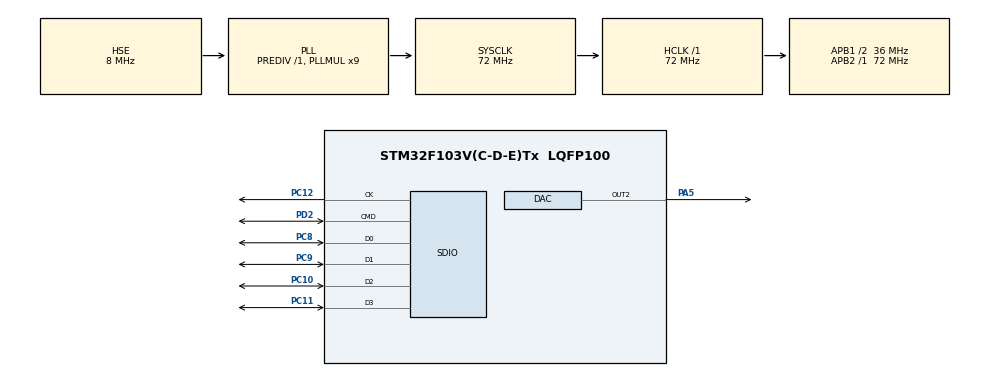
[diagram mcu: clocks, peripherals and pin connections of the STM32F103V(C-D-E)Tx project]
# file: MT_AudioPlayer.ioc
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Mcu.Family=STM32F1
Mcu.Name=STM32F103V(C-D-E)Tx
Mcu.Package=LQFP100
NVIC.PriorityGroup=NVIC_PRIORITYGROUP_4
NVIC.TIM6_IRQn=true\:0\:0\:false\:false\:true\:true\:true
OSC_IN.Mode=HSE-External-Oscillator
OSC_IN.Signal=RCC_OSC_IN
OSC_OUT.Mode=HSE-External-Oscillator
OSC_OUT.Signal=RCC_OSC_OUT
PA13.Mode=Serial_Wire
PA13.Signal=SYS_JTMS-SWDIO
PA14.Mode=Serial_Wire
PA14.Signal=SYS_JTCK-SWCLK
PA5.Signal=COMP_DAC2_group
PC10.Mode=SD_4_bits_Wide_bus
PC10.Signal=SDIO_D2
PC11.Mode=SD_4_bits_Wide_bus
PC11.Signal=SDIO_D3
PC12.Mode=SD_4_bits_Wide_bus
PC12.Signal=SDIO_CK
PC8.Mode=SD_4_bits_Wide_bus
PC8.Signal=SDIO_D0
PC9.Mode=SD_4_bits_Wide_bus
PC9.Signal=SDIO_D1
PD2.Mode=SD_4_bits_Wide_bus
PD2.Signal=SDIO_CMD
ProjectManager.HeapSize=0x2000
ProjectManager.StackSize=0x4000
ProjectManager.TargetToolchain=EWARM V8.32
RCC.AHBFreq_Value=72000000
RCC.APB1CLKDivider=RCC_HCLK_DIV2
RCC.APB1Freq_Value=36000000
RCC.APB1TimFreq_Value=72000000
RCC.APB2Freq_Value=72000000
RCC.APB2TimFreq_Value=72000000
RCC.HCLKFreq_Value=72000000
RCC.PLLMUL=RCC_PLL_MUL9
RCC.PLLSourceVirtual=RCC_PLLSOURCE_HSE
RCC.SYSCLKFreq_VALUE=72000000
RCC.SYSCLKSource=RCC_SYSCLKSOURCE_PLLCLK
RCC.USBFreq_Value=72000000
SDIO.ClockDiv=6
SH.COMP_DAC2_group.0=DAC_OUT2,DAC_OUT2
TIM6.Period=25
TIM6.Prescaler=179
VP_FATFS_VS_SDIO.Mode=SDIO
VP_TIM6_VS_ClockSourceINT.Mode=Enable_Timer
board=custom

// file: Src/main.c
/* USER CODE BEGIN Header */
/**
  ******************************************************************************
  * @file           : main.c
  * @brief          : Main program body
  ******************************************************************************
  * @attention
  *
  * <h2><center>&copy; Copyright (c) 2020 STMicroelectronics.
  * All rights reserved.</center></h2>
  *
  * This software component is licensed by ST under Ultimate Liberty license
  * SLA0044, the "License"; You may not use this file except in compliance with
  * the License. You may obtain a copy of the License at:
  *                             www.st.com/SLA0044
  *
  ******************************************************************************
  */
/* USER CODE END Header */

#include "main.h"
#include "fatfs.h"

/* USER CODE BEGIN Includes */
#include <string.h>

/* USER CODE END Includes */

DAC_HandleTypeDef hdac;

SD_HandleTypeDef hsd;

TIM_HandleTypeDef htim6;

/* USER CODE BEGIN PV */
uint8_t curBufIdx = 0;
uint8_t wavBuf[2][WAV_BUF_SIZE];
uint16_t curBufOffset = 0;
uint8_t wavReadFlag = 0;
uint32_t wavDataSize = 0;
uint32_t curWavIdx = 0;
uint8_t stopFlag = 0;

FATFS fileSystem;
FIL audioFile;
uint32_t readBytes = 0;
FRESULT res;

/* USER CODE END PV */

void SystemClock_Config(void);
static void MX_GPIO_Init(void);
static void MX_SDIO_SD_Init(void);
static void MX_DAC_Init(void);
static void MX_TIM6_Init(void);

int main(void)
{

  /* MCU Configuration--------------------------------------------------------*/

  /* Reset of all peripherals, Initializes the Flash interface and the Systick. */
  HAL_Init();

  /* Configure the system clock */
  SystemClock_Config();

  /* Initialize all configured peripherals */
  MX_GPIO_Init();
  MX_SDIO_SD_Init();
  MX_FATFS_Init();
  MX_DAC_Init();
  MX_TIM6_Init();
  /* USER CODE BEGIN 2 */
  res = f_mount(&fileSystem, SDPath, 1);

  uint8_t path[10] = "audio.wav";
  res = f_open(&audioFile, (char*)path, FA_READ);

  uint16_t dataOffset = 0;

  res = f_read(&audioFile, wavBuf[0], WAV_BUF_SIZE, &readBytes);

  for (uint16_t i = 0; i < (WAV_BUF_SIZE - 3); i++)
  {
    if ((wavBuf[0][i] == 'd') && (wavBuf[0][i + 1] == 'a') &&
        (wavBuf[0][i + 2] == 't') && (wavBuf[0][i + 3] == 'a'))
    {
      dataOffset = i + 8;
      break;
    }
  }

  res = f_lseek(&audioFile, dataOffset);
  wavDataSize = f_size(&audioFile) - dataOffset;

  res = f_read(&audioFile, wavBuf[0], WAV_BUF_SIZE, &readBytes);
  res = f_read(&audioFile, wavBuf[1], WAV_BUF_SIZE, &readBytes);

  HAL_DAC_Start(&hdac, DAC_CHANNEL_2);
  HAL_TIM_Base_Start_IT(&htim6);

  /* USER CODE END 2 */

  /* Infinite loop */
  while (1)
  {

    /* USER CODE BEGIN 3 */
    if (wavReadFlag == 1)
    {
      uint8_t readBufIdx = 0;

      if (curBufIdx == 0)
      {
        readBufIdx = 1;
      }

      res = f_read(&audioFile, wavBuf[readBufIdx], WAV_BUF_SIZE, &readBytes);
      wavReadFlag = 0;
    }

    if (stopFlag == 1)
    {
      res = f_close(&audioFile);
      stopFlag = 0;
    }
  }
  /* USER CODE END 3 */
}

void SystemClock_Config(void)
{
  RCC_OscInitTypeDef RCC_OscInitStruct = {0};
  RCC_ClkInitTypeDef RCC_ClkInitStruct = {0};

  /** Initializes the CPU, AHB and APB busses clocks
  */
  RCC_OscInitStruct.OscillatorType = RCC_OSCILLATORTYPE_HSE;
  RCC_OscInitStruct.HSEState = RCC_HSE_ON;
  RCC_OscInitStruct.HSEPredivValue = RCC_HSE_PREDIV_DIV1;
  RCC_OscInitStruct.HSIState = RCC_HSI_ON;
  RCC_OscInitStruct.PLL.PLLState = RCC_PLL_ON;
  RCC_OscInitStruct.PLL.PLLSource = RCC_PLLSOURCE_HSE;
  RCC_OscInitStruct.PLL.PLLMUL = RCC_PLL_MUL9;
  if (HAL_RCC_OscConfig(&RCC_OscInitStruct) != HAL_OK)
  {
    Error_Handler();
  }
  /** Initializes the CPU, AHB and APB busses clocks
  */
  RCC_ClkInitStruct.ClockType = RCC_CLOCKTYPE_HCLK|RCC_CLOCKTYPE_SYSCLK
                              |RCC_CLOCKTYPE_PCLK1|RCC_CLOCKTYPE_PCLK2;
  RCC_ClkInitStruct.SYSCLKSource = RCC_SYSCLKSOURCE_PLLCLK;
  RCC_ClkInitStruct.AHBCLKDivider = RCC_SYSCLK_DIV1;
  RCC_ClkInitStruct.APB1CLKDivider = RCC_HCLK_DIV2;
  RCC_ClkInitStruct.APB2CLKDivider = RCC_HCLK_DIV1;

  if (HAL_RCC_ClockConfig(&RCC_ClkInitStruct, FLASH_LATENCY_2) != HAL_OK)
  {
    Error_Handler();
  }
}

static void MX_DAC_Init(void)
{

  DAC_ChannelConfTypeDef sConfig = {0};

  /** DAC Initialization
  */
  hdac.Instance = DAC;
  if (HAL_DAC_Init(&hdac) != HAL_OK)
  {
    Error_Handler();
  }
  /** DAC channel OUT2 config
  */
  sConfig.DAC_Trigger = DAC_TRIGGER_NONE;
  sConfig.DAC_OutputBuffer = DAC_OUTPUTBUFFER_ENABLE;
  if (HAL_DAC_ConfigChannel(&hdac, &sConfig, DAC_CHANNEL_2) != HAL_OK)
  {
    Error_Handler();
  }

}

static void MX_SDIO_SD_Init(void)
{

  hsd.Instance = SDIO;
  hsd.Init.ClockEdge = SDIO_CLOCK_EDGE_RISING;
  hsd.Init.ClockBypass = SDIO_CLOCK_BYPASS_DISABLE;
  hsd.Init.ClockPowerSave = SDIO_CLOCK_POWER_SAVE_DISABLE;
  hsd.Init.BusWide = SDIO_BUS_WIDE_1B;
  hsd.Init.HardwareFlowControl = SDIO_HARDWARE_FLOW_CONTROL_DISABLE;
  hsd.Init.ClockDiv = 6;

}

static void MX_TIM6_Init(void)
{

  TIM_MasterConfigTypeDef sMasterConfig = {0};

  htim6.Instance = TIM6;
  htim6.Init.Prescaler = 179;
  htim6.Init.CounterMode = TIM_COUNTERMODE_UP;
  htim6.Init.Period = 25;
  htim6.Init.AutoReloadPreload = TIM_AUTORELOAD_PRELOAD_DISABLE;
  if (HAL_TIM_Base_Init(&htim6) != HAL_OK)
  {
    Error_Handler();
  }
  sMasterConfig.MasterOutputTrigger = TIM_TRGO_RESET;
  sMasterConfig.MasterSlaveMode = TIM_MASTERSLAVEMODE_DISABLE;
  if (HAL_TIMEx_MasterConfigSynchronization(&htim6, &sMasterConfig) != HAL_OK)
  {
    Error_Handler();
  }

}

static void MX_GPIO_Init(void)
{

  /* GPIO Ports Clock Enable */
  __HAL_RCC_GPIOA_CLK_ENABLE();
  __HAL_RCC_GPIOC_CLK_ENABLE();
  __HAL_RCC_GPIOD_CLK_ENABLE();

}

void Error_Handler(void)
{
}

/************************ (C) COPYRIGHT STMicroelectronics *****END OF FILE****/
